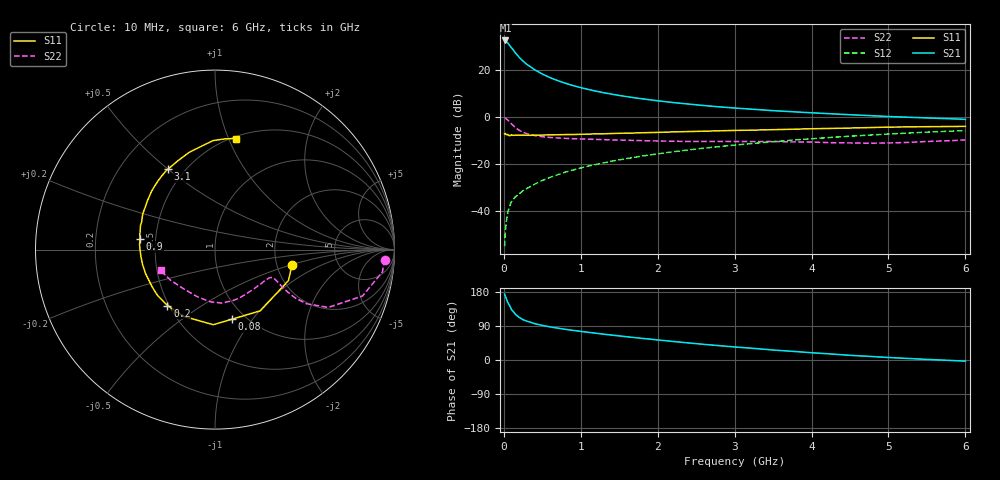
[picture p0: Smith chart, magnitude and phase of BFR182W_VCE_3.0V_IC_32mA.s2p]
! Infineon Technologies  Discrete & RF Semiconductors
! BFR182W
! VCE =  3.0 V,  IC =  32 mA
! Common Emitter S-Parameters:  Jan 2017
# GHz  S  MA  R  50
!  f  S11  S21  S12  S22
! GHz  MAG  ANG  MAG  ANG  MAG  ANG  MAG  ANG
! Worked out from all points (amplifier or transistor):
!   77 points, 10 MHz to 6 GHz, reference 50 ohm
!   highest |S21| = 32.5 dB at 20 MHz (marker M1)
!   |S21| within 3 dB of that: start of sweep to 97.44 MHz
!   unconditionally stable (mu >= 1): 491.8 MHz to 2.317 GHz
!   at 130 MHz: K = 0.55, MSG = 31.4 dB, |S12| = -34.7 dB
!   at 2.2 GHz: K = 1.01, MAG = 9.8 dB, |S12| = -14.8 dB
!   at 6 GHz: K = 0.88, MSG = 2.4 dB, |S12| = -5.8 dB
!   S11 on the Smith chart (normalised r, x): 10 MHz: 2.42, -0.52; 80 MHz: 0.87, -0.80; 200 MHz: 0.49, -0.37; 900 MHz: 0.41, +0.06; 3.1 GHz: 0.41, +0.50; 6 GHz: 0.52, +1.06
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0.01  0.4369 -11.4  41.87 173.8  0.0018 77.4  0.9461 -3.4
0.02  0.4443 -22.8  41.95 168.2  0.0037 86.9  0.9411 -7.6
0.05  0.4243 -53.5  37.51 152.1  0.0092 70.9  0.8612 -17.5
0.08  0.3991 -76.2  32.16 141.6  0.0132 66.6  0.7662 -22.8
0.1  0.4186 -91.3  29.37 132.7  0.0159 64.9  0.7073 -27.1
0.15  0.4108 -115.0  22.87 120.5  0.0201 63.0  0.5925 -30.6
0.2  0.409 -130.4  18.39 112.4  0.0233 63.4  0.5196 -31.1
0.25  0.4096 -141.5  15.28 106.4  0.0273 63.5  0.4717 -30.3
0.3  0.4071 -149.3  12.98 102.3  0.0302 64.1  0.4384 -29.5
0.4  0.4092 -160.6  10.02 95.9  0.0371 67.4  0.4009 -27.7
0.5  0.4119 -168.5  8.112 91.3  0.0448 68.9  0.3792 -26.6
0.6  0.4143 -174.6  6.83 87.4  0.0521 70.7  0.3656 -26.0
0.7  0.4175 -179.7  5.888 84.1  0.0591 72.2  0.3566 -25.9
0.9  0.4222 171.9  4.616 78.1  0.0745 72.7  0.3444 -27.0
1.1  0.4309 165.2  3.821 73.0  0.0905 73.2  0.3362 -28.9
1.3  0.437 159.0  3.259 68.1  0.1059 72.5  0.3291 -31.5
1.5  0.4484 153.8  2.853 63.6  0.1223 72.4  0.3216 -34.8
2.1  0.4739 139.7  2.106 51.0  0.1728 69.0  0.3057 -47.5
3.1  0.5191 120.1  1.504 32.9  0.2606 61.3  0.3 -72.7
4.1  0.5636 103.5  1.199 17.9  0.3526 51.6  0.2882 -98.0
5.1  0.6093 89.8  1.005 5.6  0.441 40.9  0.282 -132.1
6  0.6296 79.4  0.888 -2.9  0.5129 30.8  0.3245 -159.1
